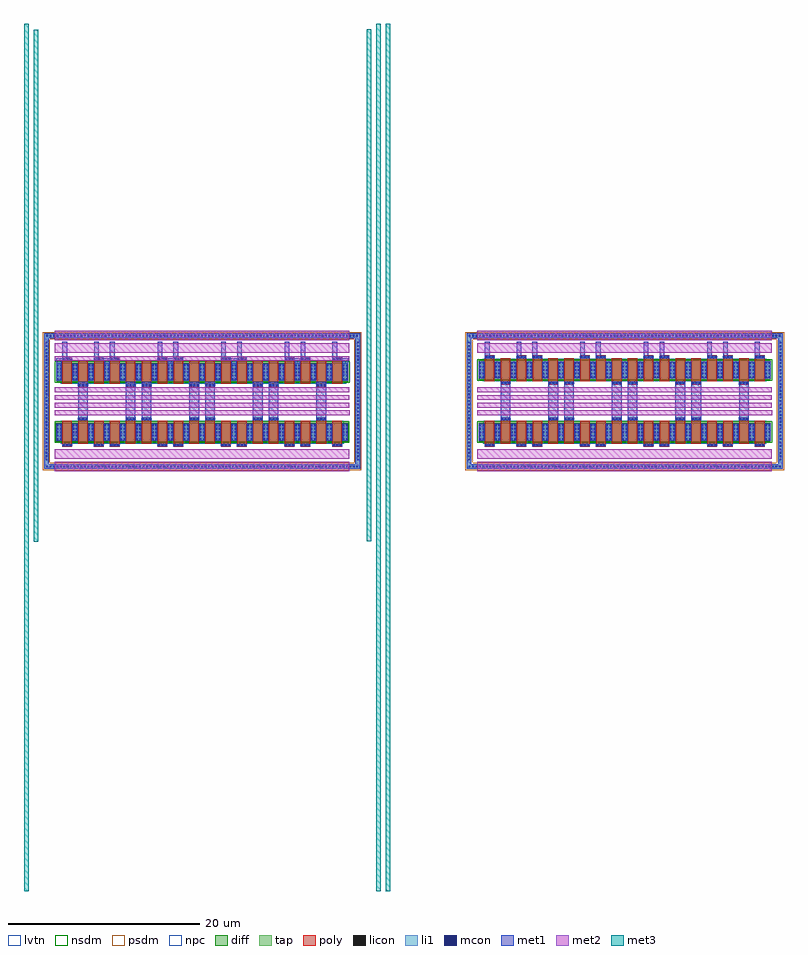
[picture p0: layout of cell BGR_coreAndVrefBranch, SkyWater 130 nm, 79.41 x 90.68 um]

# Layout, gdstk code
import gdstk
lib = gdstk.Library(unit=1e-6, precision=5e-09)
def R(c, l, rs):  # rectangles x0, y0, x1, y1
    for r in rs: c.add(gdstk.rectangle(r[:2], r[2:], *l))
def A(c, l, x, y, w, h, nx, ny, dx, dy):  # array of equal rectangles
    R(c, l, [(x+i*dx, y+j*dy, x+i*dx+w, y+j*dy+h) for i in range(nx) for j in range(ny)])
def P(c, l, *ps):  # polygons
    for p in ps: c.add(gdstk.Polygon(p, *l))
diff = (65, 20)
tap = (65, 44)
poly = (66, 20)
licon = (66, 44)
li1 = (67, 20)
mcon = (67, 44)
met1 = (68, 20)
met2 = (69, 20)
met3 = (70, 20)
nsdm = (93, 44)
psdm = (94, 20)
npc = (95, 20)
lvtn = (125, 44)

nfet_3 = lib.new_cell('nfet$3')
R(nfet_3, diff, [(0,0,2.32,2)])
R(nfet_3, poly, [(0.66,-0.2,1.66,2.2), (0.66,2.2,1.66,2.53)])
A(nfet_3, licon, 0.065, 0.195, 0.17, 0.17, 1, 5, 0, 0.36)
A(nfet_3, licon, 0.425, 0.195, 0.17, 0.17, 1, 5, 0, 0.36)
A(nfet_3, licon, 1.725, 0.195, 0.17, 0.17, 1, 5, 0, 0.36)
A(nfet_3, licon, 2.085, 0.195, 0.17, 0.17, 1, 5, 0, 0.36)
A(nfet_3, licon, 0.715, 2.28, 0.17, 0.17, 3, 1, 0.36, 0)
R(nfet_3, li1, [(0.065,0.115,0.595,1.885), (1.725,0.115,2.255,1.885), (0.635,2.28,1.685,2.45)])
A(nfet_3, mcon, 0.065, 0.195, 0.17, 0.17, 1, 5, 0, 0.36)
A(nfet_3, mcon, 0.425, 0.195, 0.17, 0.17, 1, 5, 0, 0.36)
A(nfet_3, mcon, 1.725, 0.195, 0.17, 0.17, 1, 5, 0, 0.36)
A(nfet_3, mcon, 2.085, 0.195, 0.17, 0.17, 1, 5, 0, 0.36)
A(nfet_3, mcon, 0.715, 2.28, 0.17, 0.17, 3, 1, 0.36, 0)
R(nfet_3, met1, [(0.035,0.135,0.625,1.865), (1.695,0.135,2.285,1.865), (0.655,2.25,1.665,2.48)])
R(nfet_3, nsdm, [(-0.125,-0.125,2.445,2.125)])
R(nfet_3, npc, [(0.65,2.19,1.67,2.54)])
R(nfet_3, lvtn, [(0.48,-0.18,1.84,2.18)])

nfet = lib.new_cell('nfet')
R(nfet, diff, [(0,0,2.32,2)])
R(nfet, poly, [(0.66,-0.53,1.66,-0.2), (0.66,-0.2,1.66,2.2)])
A(nfet, licon, 0.715, -0.45, 0.17, 0.17, 3, 1, 0.36, 0)
A(nfet, licon, 0.065, 0.195, 0.17, 0.17, 1, 5, 0, 0.36)
A(nfet, licon, 0.425, 0.195, 0.17, 0.17, 1, 5, 0, 0.36)
A(nfet, licon, 1.725, 0.195, 0.17, 0.17, 1, 5, 0, 0.36)
A(nfet, licon, 2.085, 0.195, 0.17, 0.17, 1, 5, 0, 0.36)
R(nfet, li1, [(0.635,-0.45,1.685,-0.28), (0.065,0.115,0.595,1.885), (1.725,0.115,2.255,1.885)])
A(nfet, mcon, 0.715, -0.45, 0.17, 0.17, 3, 1, 0.36, 0)
A(nfet, mcon, 0.065, 0.195, 0.17, 0.17, 1, 5, 0, 0.36)
A(nfet, mcon, 0.425, 0.195, 0.17, 0.17, 1, 5, 0, 0.36)
A(nfet, mcon, 1.725, 0.195, 0.17, 0.17, 1, 5, 0, 0.36)
A(nfet, mcon, 2.085, 0.195, 0.17, 0.17, 1, 5, 0, 0.36)
R(nfet, met1, [(0.655,-0.48,1.665,-0.25), (0.035,0.135,0.625,1.865), (1.695,0.135,2.285,1.865)])
R(nfet, nsdm, [(-0.125,-0.125,2.445,2.125)])
R(nfet, npc, [(0.65,-0.54,1.67,-0.19)])
R(nfet, lvtn, [(0.48,-0.18,1.84,2.18)])

guard_ring_gen = lib.new_cell('guard_ring_gen')
P(guard_ring_gen, tap, [(-0.5,-0.5),(-0.5,13.165),(0,13.165),(0,0),(32.04,0),(32.04,13.165),(-0.5,13.165),(-0.5,13.665),(32.54,13.665),(32.54,-0.5)])
A(guard_ring_gen, licon, -0.265, -0.335, 0.17, 0.17, 91, 2, 0.36, 13.665)
A(guard_ring_gen, licon, -0.335, 0.38, 0.17, 0.17, 1, 35, 0, 0.36)
A(guard_ring_gen, licon, 32.205, 0.38, 0.17, 0.17, 1, 35, 0, 0.36)
P(guard_ring_gen, li1, [(-0.5,-0.5),(-0.5,13.165),(0,13.165),(0,0),(32.04,0),(32.04,13.165),(-0.5,13.165),(-0.5,13.665),(32.54,13.665),(32.54,-0.5)])
A(guard_ring_gen, mcon, -0.265, -0.335, 0.17, 0.17, 91, 2, 0.36, 13.665)
A(guard_ring_gen, mcon, -0.335, 0.38, 0.17, 0.17, 1, 35, 0, 0.36)
A(guard_ring_gen, mcon, 32.205, 0.38, 0.17, 0.17, 1, 35, 0, 0.36)
P(guard_ring_gen, met1, [(-0.5,-0.5),(-0.5,13.165),(0,13.165),(0,0),(32.04,0),(32.04,13.165),(-0.5,13.165),(-0.5,13.665),(32.54,13.665),(32.54,-0.5)])
P(guard_ring_gen, psdm, [(-0.625,-0.625),(-0.625,13.04),(0.125,13.04),(0.125,0.125),(31.915,0.125),(31.915,13.04),(-0.625,13.04),(-0.625,13.79),(32.665,13.79),(32.665,-0.625)])

bgr_coreandvrefbranch = lib.new_cell('BGR_coreAndVrefBranch')
R(bgr_coreandvrefbranch, met1, [(145.375,167.88,146.385,171.855), (189.525,167.88,190.535,171.855), (150.355,167.92,151.365,171.895), (152.015,167.92,153.025,171.895), (156.995,167.92,158.005,171.895), (158.655,167.92,159.665,171.895), (163.635,167.92,164.645,171.895), (165.295,167.92,166.305,171.895), (170.275,167.92,171.285,171.895), (194.505,167.92,195.515,171.895), (196.165,167.92,197.175,171.895), (201.145,167.92,202.155,171.895), (202.805,167.92,203.815,171.895), (207.785,167.92,208.795,171.895), (209.445,167.92,210.455,171.895), (214.425,167.92,215.435,171.895), (147.04,174.12,149.715,174.35), (154.675,174.12,156.275,174.35)])
P(bgr_coreandvrefbranch, met1, [(143.1,173.585),(143.1,174.35),(143.72,174.35),(143.72,174.12),(143.69,174.12),(143.69,173.585)],
  [(161.36,173.525),(161.36,174.12),(160.735,174.12),(160.735,174.35),(162.335,174.35),(162.335,174.12),(161.95,174.12),(161.95,173.525)],
  [(168.005,173.525),(168.005,174.12),(167.38,174.12),(167.38,174.35),(168.98,174.35),(168.98,174.12),(168.595,174.12),(168.595,173.525)],
  [(172.99,173.695),(172.99,174.12),(172.95,174.12),(172.95,174.35),(173.58,174.35),(173.58,173.695)])
R(bgr_coreandvrefbranch, lvtn, [(143.54,165.42,173.12,167.78), (187.69,165.42,217.27,167.78), (143.815,171.69,173.395,174.05), (187.69,171.925,217.27,174.285)])
bgr_coreandvrefbranch.add(gdstk.FlexPath([(143.965,174.355),(143.965,176.05)], 0.5, ends="flush", simple_path=True, layer=68, datatype=20))  # met1
bgr_coreandvrefbranch.add(gdstk.FlexPath([(188.11,174.355),(188.11,176.05)], 0.5, ends="flush", simple_path=True, layer=68, datatype=20))  # met1
bgr_coreandvrefbranch.add(gdstk.FlexPath([(147.285,174.355),(147.285,176.05)], 0.5, ends="flush", simple_path=True, layer=68, datatype=20))  # met1
bgr_coreandvrefbranch.add(gdstk.FlexPath([(148.945,174.355),(148.945,176.05)], 0.5, ends="flush", simple_path=True, layer=68, datatype=20))  # met1
bgr_coreandvrefbranch.add(gdstk.FlexPath([(153.925,174.355),(153.925,176.05)], 0.5, ends="flush", simple_path=True, layer=68, datatype=20))  # met1
bgr_coreandvrefbranch.add(gdstk.FlexPath([(155.585,174.355),(155.585,176.05)], 0.5, ends="flush", simple_path=True, layer=68, datatype=20))  # met1
bgr_coreandvrefbranch.add(gdstk.FlexPath([(160.565,174.355),(160.565,176.05)], 0.5, ends="flush", simple_path=True, layer=68, datatype=20))  # met1
bgr_coreandvrefbranch.add(gdstk.FlexPath([(162.225,174.355),(162.225,176.05)], 0.5, ends="flush", simple_path=True, layer=68, datatype=20))  # met1
bgr_coreandvrefbranch.add(gdstk.FlexPath([(167.205,174.355),(167.205,176.05)], 0.5, ends="flush", simple_path=True, layer=68, datatype=20))  # met1
bgr_coreandvrefbranch.add(gdstk.FlexPath([(168.865,174.355),(168.865,176.05)], 0.5, ends="flush", simple_path=True, layer=68, datatype=20))  # met1
bgr_coreandvrefbranch.add(gdstk.FlexPath([(172.185,174.355),(172.185,176.05)], 0.5, ends="flush", simple_path=True, layer=68, datatype=20))  # met1
bgr_coreandvrefbranch.add(gdstk.FlexPath([(191.43,174.355),(191.43,176.05)], 0.5, ends="flush", simple_path=True, layer=68, datatype=20))  # met1
bgr_coreandvrefbranch.add(gdstk.FlexPath([(193.09,174.355),(193.09,176.05)], 0.5, ends="flush", simple_path=True, layer=68, datatype=20))  # met1
bgr_coreandvrefbranch.add(gdstk.FlexPath([(198.07,174.355),(198.07,176.05)], 0.5, ends="flush", simple_path=True, layer=68, datatype=20))  # met1
bgr_coreandvrefbranch.add(gdstk.FlexPath([(199.73,174.355),(199.73,176.05)], 0.5, ends="flush", simple_path=True, layer=68, datatype=20))  # met1
bgr_coreandvrefbranch.add(gdstk.FlexPath([(204.71,174.355),(204.71,176.05)], 0.5, ends="flush", simple_path=True, layer=68, datatype=20))  # met1
bgr_coreandvrefbranch.add(gdstk.FlexPath([(206.37,174.355),(206.37,176.05)], 0.5, ends="flush", simple_path=True, layer=68, datatype=20))  # met1
bgr_coreandvrefbranch.add(gdstk.FlexPath([(211.35,174.355),(211.35,176.05)], 0.5, ends="flush", simple_path=True, layer=68, datatype=20))  # met1
bgr_coreandvrefbranch.add(gdstk.FlexPath([(213.01,174.355),(213.01,176.05)], 0.5, ends="flush", simple_path=True, layer=68, datatype=20))  # met1
bgr_coreandvrefbranch.add(gdstk.FlexPath([(216.33,174.355),(216.33,176.05)], 0.5, ends="flush", simple_path=True, layer=68, datatype=20))  # met1
bgr_coreandvrefbranch.add(gdstk.FlexPath([(148.375,173.525),(148.375,174.345)], 0.59, ends="flush", simple_path=True, layer=68, datatype=20))  # met1
bgr_coreandvrefbranch.add(gdstk.FlexPath([(155.015,173.525),(155.015,174.345)], 0.59, ends="flush", simple_path=True, layer=68, datatype=20))  # met1
bgr_coreandvrefbranch.add(gdstk.FlexPath([(217.87,163.02),(187.08,163.02)], 1, ends="flush", simple_path=True, layer=69, datatype=20))  # met2
bgr_coreandvrefbranch.add(gdstk.FlexPath([(217.86,176.685),(187.08,176.685)], 1, ends="flush", simple_path=True, layer=69, datatype=20))  # met2
bgr_coreandvrefbranch.add(gdstk.FlexPath([(217.87,164.32),(187.08,164.32)], 1, ends="flush", simple_path=True, layer=69, datatype=20))  # met2
bgr_coreandvrefbranch.add(gdstk.FlexPath([(217.88,168.63),(187.07,168.63)], 0.5, ends="flush", simple_path=True, layer=69, datatype=20))  # met2
bgr_coreandvrefbranch.add(gdstk.FlexPath([(217.87,169.425),(187.07,169.425)], 0.5, ends="flush", simple_path=True, layer=69, datatype=20))  # met2
bgr_coreandvrefbranch.add(gdstk.FlexPath([(217.87,170.225),(187.07,170.225)], 0.5, ends="flush", simple_path=True, layer=69, datatype=20))  # met2
bgr_coreandvrefbranch.add(gdstk.FlexPath([(217.87,171.025),(187.08,171.025)], 0.5, ends="flush", simple_path=True, layer=69, datatype=20))  # met2
bgr_coreandvrefbranch.add(gdstk.FlexPath([(217.86,175.385),(187.08,175.385)], 1, ends="flush", simple_path=True, layer=69, datatype=20))  # met2
bgr_coreandvrefbranch.add(gdstk.FlexPath([(173.725,174.31),(142.935,174.31)], 0.5, ends="flush", simple_path=True, layer=69, datatype=20))  # met2
bgr_coreandvrefbranch.add(gdstk.FlexPath([(173.725,163.02),(142.935,163.02)], 1, ends="flush", simple_path=True, layer=69, datatype=20))  # met2
bgr_coreandvrefbranch.add(gdstk.FlexPath([(173.715,176.685),(142.935,176.685)], 1, ends="flush", simple_path=True, layer=69, datatype=20))  # met2
bgr_coreandvrefbranch.add(gdstk.FlexPath([(173.725,164.32),(142.935,164.32)], 1, ends="flush", simple_path=True, layer=69, datatype=20))  # met2
bgr_coreandvrefbranch.add(gdstk.FlexPath([(173.735,168.63),(142.925,168.63)], 0.5, ends="flush", simple_path=True, layer=69, datatype=20))  # met2
bgr_coreandvrefbranch.add(gdstk.FlexPath([(173.725,169.425),(142.925,169.425)], 0.5, ends="flush", simple_path=True, layer=69, datatype=20))  # met2
bgr_coreandvrefbranch.add(gdstk.FlexPath([(173.725,170.225),(142.925,170.225)], 0.5, ends="flush", simple_path=True, layer=69, datatype=20))  # met2
bgr_coreandvrefbranch.add(gdstk.FlexPath([(173.725,171.025),(142.935,171.025)], 0.5, ends="flush", simple_path=True, layer=69, datatype=20))  # met2
bgr_coreandvrefbranch.add(gdstk.FlexPath([(173.715,175.385),(142.935,175.385)], 1, ends="flush", simple_path=True, layer=69, datatype=20))  # met2
bgr_coreandvrefbranch.add(gdstk.FlexPath([(176.755,209.3),(176.755,118.62)], 0.5, ends="flush", simple_path=True, layer=70, datatype=20))  # met3
bgr_coreandvrefbranch.add(gdstk.FlexPath([(175.755,208.72),(175.755,155.225)], 0.5, ends="flush", simple_path=True, layer=70, datatype=20))  # met3
bgr_coreandvrefbranch.add(gdstk.FlexPath([(140.97,208.63),(140.97,155.135)], 0.5, ends="flush", simple_path=True, layer=70, datatype=20))  # met3
bgr_coreandvrefbranch.add(gdstk.FlexPath([(139.97,209.3),(139.97,118.62)], 0.5, ends="flush", simple_path=True, layer=70, datatype=20))  # met3
bgr_coreandvrefbranch.add(gdstk.FlexPath([(177.755,209.3),(177.755,118.62)], 0.5, ends="flush", simple_path=True, layer=70, datatype=20))  # met3
bgr_coreandvrefbranch.add(gdstk.Reference(nfet_3, (143.065,171.87)))
bgr_coreandvrefbranch.add(gdstk.Reference(nfet, (149.705,171.87)))
bgr_coreandvrefbranch.add(gdstk.Reference(nfet, (151.365,171.87)))
bgr_coreandvrefbranch.add(gdstk.Reference(nfet_3, (187.21,172.105)))
bgr_coreandvrefbranch.add(gdstk.Reference(nfet, (193.85,172.105)))
bgr_coreandvrefbranch.add(gdstk.Reference(guard_ring_gen, (142.31,163.27)))
bgr_coreandvrefbranch.add(gdstk.Reference(nfet, (195.51,172.105)))
bgr_coreandvrefbranch.add(gdstk.Reference(guard_ring_gen, (186.46,163.27)))
bgr_coreandvrefbranch.add(gdstk.Reference(nfet_3, (210.45,172.105)))
bgr_coreandvrefbranch.add(gdstk.Reference(nfet, (208.79,172.105)))
bgr_coreandvrefbranch.add(gdstk.Reference(nfet_3, (166.305,171.87)))
bgr_coreandvrefbranch.add(gdstk.Reference(nfet_3, (212.11,167.6), x_reflection=True))
bgr_coreandvrefbranch.add(gdstk.Reference(nfet_3, (215.43,167.6), x_reflection=True))
bgr_coreandvrefbranch.add(gdstk.Reference(nfet, (164.645,171.87)))
bgr_coreandvrefbranch.add(gdstk.Reference(nfet, (213.77,167.6), x_reflection=True))
bgr_coreandvrefbranch.add(gdstk.Reference(nfet_3, (212.11,172.105)))
bgr_coreandvrefbranch.add(gdstk.Reference(nfet, (195.51,167.6), x_reflection=True))
bgr_coreandvrefbranch.add(gdstk.Reference(nfet_3, (192.19,172.105)))
bgr_coreandvrefbranch.add(gdstk.Reference(nfet, (193.85,167.6), x_reflection=True))
bgr_coreandvrefbranch.add(gdstk.Reference(nfet_3, (192.19,167.6), x_reflection=True))
bgr_coreandvrefbranch.add(gdstk.Reference(nfet_3, (190.53,167.6), x_reflection=True))
bgr_coreandvrefbranch.add(gdstk.Reference(nfet_3, (190.53,172.105)))
bgr_coreandvrefbranch.add(gdstk.Reference(nfet, (188.87,172.105)))
bgr_coreandvrefbranch.add(gdstk.Reference(nfet_3, (187.21,167.6), x_reflection=True))
bgr_coreandvrefbranch.add(gdstk.Reference(nfet_3, (205.47,167.6), x_reflection=True))
bgr_coreandvrefbranch.add(gdstk.Reference(nfet_3, (215.43,172.105)))
bgr_coreandvrefbranch.add(gdstk.Reference(nfet, (207.13,167.6), x_reflection=True))
bgr_coreandvrefbranch.add(gdstk.Reference(nfet, (207.13,172.105)))
bgr_coreandvrefbranch.add(gdstk.Reference(nfet_3, (167.96,167.6), x_reflection=True))
bgr_coreandvrefbranch.add(gdstk.Reference(nfet_3, (171.28,167.6), x_reflection=True))
bgr_coreandvrefbranch.add(gdstk.Reference(nfet_3, (203.81,167.6), x_reflection=True))
bgr_coreandvrefbranch.add(gdstk.Reference(nfet, (169.62,167.6), x_reflection=True))
bgr_coreandvrefbranch.add(gdstk.Reference(nfet, (202.15,167.6), x_reflection=True))
bgr_coreandvrefbranch.add(gdstk.Reference(nfet_3, (167.965,171.87)))
bgr_coreandvrefbranch.add(gdstk.Reference(nfet, (151.36,167.6), x_reflection=True))
bgr_coreandvrefbranch.add(gdstk.Reference(nfet_3, (148.045,171.87)))
bgr_coreandvrefbranch.add(gdstk.Reference(nfet, (149.7,167.6), x_reflection=True))
bgr_coreandvrefbranch.add(gdstk.Reference(nfet, (200.49,167.6), x_reflection=True))
bgr_coreandvrefbranch.add(gdstk.Reference(nfet_3, (198.83,167.6), x_reflection=True))
bgr_coreandvrefbranch.add(gdstk.Reference(nfet_3, (148.04,167.6), x_reflection=True))
bgr_coreandvrefbranch.add(gdstk.Reference(nfet_3, (146.38,167.6), x_reflection=True))
bgr_coreandvrefbranch.add(gdstk.Reference(nfet_3, (146.385,171.87)))
bgr_coreandvrefbranch.add(gdstk.Reference(nfet, (144.725,171.87)))
bgr_coreandvrefbranch.add(gdstk.Reference(nfet_3, (143.06,167.6), x_reflection=True))
bgr_coreandvrefbranch.add(gdstk.Reference(nfet_3, (161.32,167.6), x_reflection=True))
bgr_coreandvrefbranch.add(gdstk.Reference(nfet_3, (197.17,167.6), x_reflection=True))
bgr_coreandvrefbranch.add(gdstk.Reference(nfet, (188.87,167.6), x_reflection=True))
bgr_coreandvrefbranch.add(gdstk.Reference(nfet_3, (205.47,172.105)))
bgr_coreandvrefbranch.add(gdstk.Reference(nfet_3, (203.81,172.105)))
bgr_coreandvrefbranch.add(gdstk.Reference(nfet, (202.15,172.105)))
bgr_coreandvrefbranch.add(gdstk.Reference(nfet, (200.49,172.105)))
bgr_coreandvrefbranch.add(gdstk.Reference(nfet_3, (171.285,171.87)))
bgr_coreandvrefbranch.add(gdstk.Reference(nfet_3, (198.83,172.105)))
bgr_coreandvrefbranch.add(gdstk.Reference(nfet, (162.98,167.6), x_reflection=True))
bgr_coreandvrefbranch.add(gdstk.Reference(nfet_3, (197.17,172.105)))
bgr_coreandvrefbranch.add(gdstk.Reference(nfet, (162.985,171.87)))
bgr_coreandvrefbranch.add(gdstk.Reference(nfet, (213.77,172.105)))
bgr_coreandvrefbranch.add(gdstk.Reference(nfet, (208.79,167.6), x_reflection=True))
bgr_coreandvrefbranch.add(gdstk.Reference(nfet_3, (210.45,167.6), x_reflection=True))
bgr_coreandvrefbranch.add(gdstk.Reference(nfet_3, (159.66,167.6), x_reflection=True))
bgr_coreandvrefbranch.add(gdstk.Reference(nfet, (158,167.6), x_reflection=True))
bgr_coreandvrefbranch.add(gdstk.Reference(nfet, (156.34,167.6), x_reflection=True))
bgr_coreandvrefbranch.add(gdstk.Reference(nfet_3, (154.68,167.6), x_reflection=True))
bgr_coreandvrefbranch.add(gdstk.Reference(nfet_3, (153.02,167.6), x_reflection=True))
bgr_coreandvrefbranch.add(gdstk.Reference(nfet, (144.72,167.6), x_reflection=True))
bgr_coreandvrefbranch.add(gdstk.Reference(nfet_3, (161.325,171.87)))
bgr_coreandvrefbranch.add(gdstk.Reference(nfet_3, (159.665,171.87)))
bgr_coreandvrefbranch.add(gdstk.Reference(nfet, (158.005,171.87)))
bgr_coreandvrefbranch.add(gdstk.Reference(nfet, (156.345,171.87)))
bgr_coreandvrefbranch.add(gdstk.Reference(nfet_3, (154.685,171.87)))
bgr_coreandvrefbranch.add(gdstk.Reference(nfet_3, (153.025,171.87)))
bgr_coreandvrefbranch.add(gdstk.Reference(nfet, (169.625,171.87)))
bgr_coreandvrefbranch.add(gdstk.Reference(nfet, (164.64,167.6), x_reflection=True))
bgr_coreandvrefbranch.add(gdstk.Reference(nfet_3, (166.3,167.6), x_reflection=True))

lib.write_gds('BGR_coreAndVrefBranch.gds')
